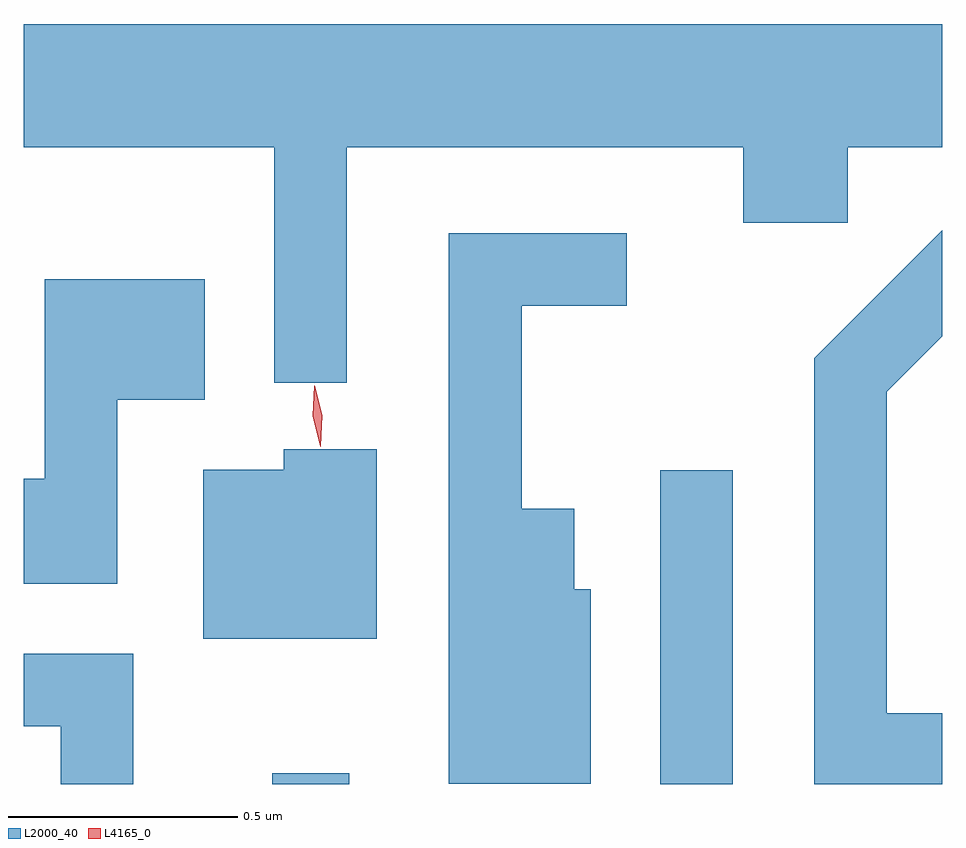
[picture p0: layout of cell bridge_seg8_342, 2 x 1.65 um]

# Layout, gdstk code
import gdstk
lib = gdstk.Library(unit=1e-6, precision=1e-09)
def R(c, l, rs):  # rectangles x0, y0, x1, y1
    for r in rs: c.add(gdstk.rectangle(r[:2], r[2:], *l))
def P(c, l, *ps):  # polygons
    for p in ps: c.add(gdstk.Polygon(p, *l))
L2000_40 = (2000, 40)
L4165_0 = (4165, 0)

bridge_seg8_342 = lib.new_cell('bridge_seg8_342')
R(bridge_seg8_342, L2000_40, [(877.941,1928.27,878.109,1928.293), (878.786,1928.27,878.944,1928.953)])
P(bridge_seg8_342, L2000_40, [(878.104,1929.656),(878.966,1929.656),(878.966,1929.491),(879.194,1929.491),(879.194,1929.656),(879.4,1929.656),(879.4,1929.924),(877.4,1929.924),(877.4,1929.656),(877.946,1929.656),(877.946,1929.143),(878.104,1929.143)],
  [(879.4,1928.424),(879.279,1928.424),(879.279,1929.124),(879.4,1929.244),(879.4,1929.475),(879.121,1929.197),(879.121,1928.27),(879.4,1928.27)],
  [(878.634,1928.694),(878.599,1928.694),(878.599,1928.869),(878.484,1928.869),(878.484,1929.311),(878.713,1929.311),(878.713,1929.469),(878.326,1929.469),(878.326,1928.271),(878.634,1928.271)],
  [(877.604,1929.106),(877.794,1929.106),(877.794,1929.369),(877.446,1929.369),(877.446,1928.934),(877.4,1928.934),(877.4,1928.706),(877.604,1928.706)],
  [(878.169,1928.999),(877.966,1928.999),(877.966,1928.954),(877.791,1928.954),(877.791,1928.586),(878.169,1928.586)],
  [(877.639,1928.554),(877.4,1928.554),(877.4,1928.396),(877.481,1928.396),(877.481,1928.27),(877.639,1928.27)])
P(bridge_seg8_342, L4165_0, [(878.047,1929.004),(878.046,1929.005),(878.03,1929.07),(878.033,1929.137),(878.034,1929.137),(878.034,1929.137),(878.05,1929.072),(878.047,1929.005)])

lib.write_gds('bridge_seg8_342.gds')
